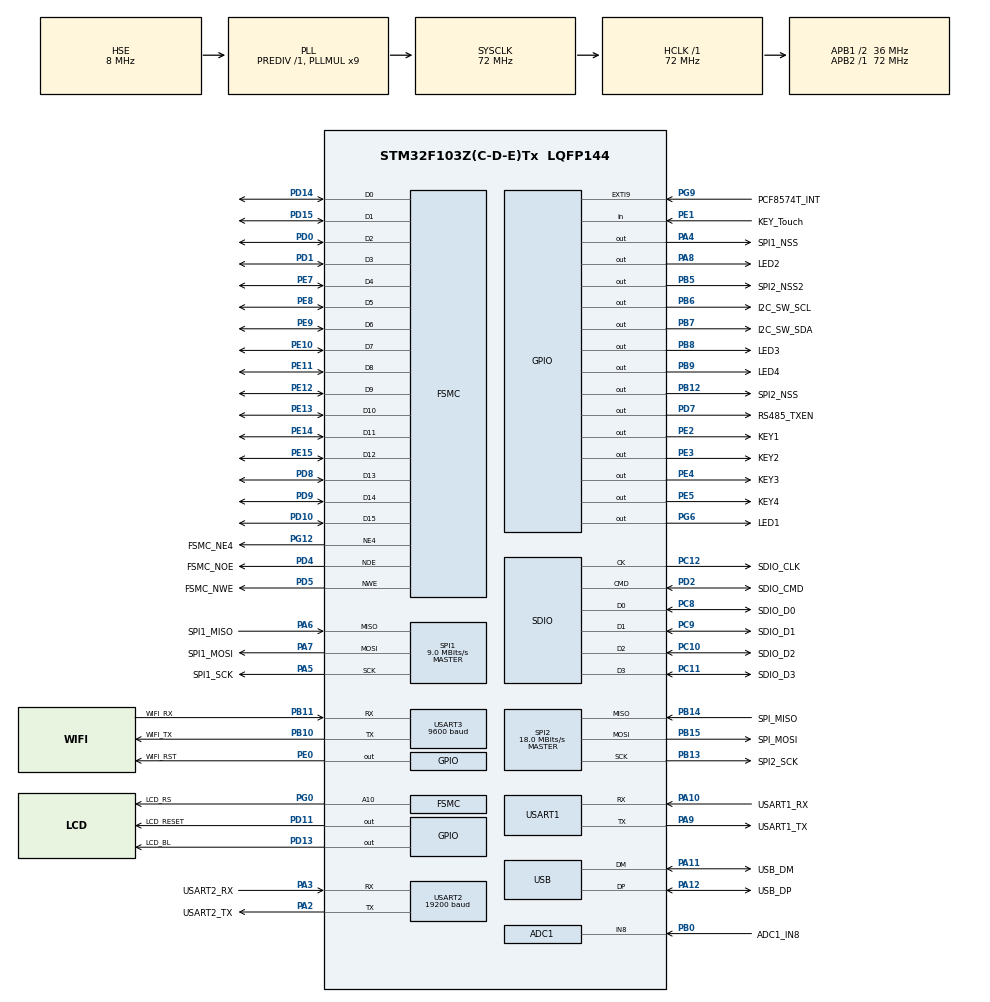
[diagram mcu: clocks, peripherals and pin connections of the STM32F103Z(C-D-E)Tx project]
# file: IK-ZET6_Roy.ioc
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ADC1.Channel-0\#ChannelRegularConversion=ADC_CHANNEL_TEMPSENSOR
ADC1.Channel-1\#ChannelRegularConversion=ADC_CHANNEL_8
ADC1.ContinuousConvMode=DISABLE
ADC1.DiscontinuousConvMode=DISABLE
ADC1.EnableInjectedConversion=DISABLE
ADC1.NbrOfConversion=2
ADC1.NbrOfConversionFlag=1
ADC1.Rank-0\#ChannelRegularConversion=1
ADC1.Rank-1\#ChannelRegularConversion=2
ADC1.SamplingTime-0\#ChannelRegularConversion=ADC_SAMPLETIME_28CYCLES_5
ADC1.SamplingTime-1\#ChannelRegularConversion=ADC_SAMPLETIME_28CYCLES_5
ADC1.master=1
Dma.ADC1.1.Direction=DMA_PERIPH_TO_MEMORY
Dma.ADC1.1.Instance=DMA1_Channel1
Dma.ADC1.1.MemDataAlignment=DMA_MDATAALIGN_WORD
Dma.ADC1.1.MemInc=DMA_MINC_ENABLE
Dma.ADC1.1.Mode=DMA_NORMAL
Dma.ADC1.1.PeriphDataAlignment=DMA_PDATAALIGN_WORD
Dma.ADC1.1.PeriphInc=DMA_PINC_DISABLE
Dma.ADC1.1.Priority=DMA_PRIORITY_LOW
Dma.Request0=USART1_RX
Dma.Request1=ADC1
Dma.Request2=SDIO
Dma.SDIO.2.Direction=DMA_MEMORY_TO_PERIPH
Dma.SDIO.2.Instance=DMA2_Channel4
Dma.SDIO.2.MemDataAlignment=DMA_MDATAALIGN_WORD
Dma.SDIO.2.MemInc=DMA_MINC_ENABLE
Dma.SDIO.2.Mode=DMA_CIRCULAR
Dma.SDIO.2.PeriphDataAlignment=DMA_PDATAALIGN_WORD
Dma.SDIO.2.PeriphInc=DMA_PINC_DISABLE
Dma.SDIO.2.Priority=DMA_PRIORITY_LOW
Dma.USART1_RX.0.Direction=DMA_PERIPH_TO_MEMORY
Dma.USART1_RX.0.Instance=DMA1_Channel5
Dma.USART1_RX.0.MemDataAlignment=DMA_MDATAALIGN_BYTE
Dma.USART1_RX.0.MemInc=DMA_MINC_ENABLE
Dma.USART1_RX.0.Mode=DMA_CIRCULAR
Dma.USART1_RX.0.PeriphDataAlignment=DMA_PDATAALIGN_BYTE
Dma.USART1_RX.0.PeriphInc=DMA_PINC_DISABLE
Dma.USART1_RX.0.Priority=DMA_PRIORITY_HIGH
FSMC.AddressSetupTime4=0
FSMC.BusTurnAroundDuration4=0
FSMC.DataSetupTime4=1
FSMC.ExtendedMode4=FSMC_EXTENDED_MODE_DISABLE
Mcu.Family=STM32F1
Mcu.Name=STM32F103Z(C-D-E)Tx
Mcu.Package=LQFP144
NVIC.ADC1_2_IRQn=true\:5\:0\:true\:false\:true\:true\:true\:true
NVIC.DMA1_Channel1_IRQn=true\:6\:0\:true\:false\:true\:false\:true\:true
NVIC.DMA1_Channel5_IRQn=true\:6\:0\:true\:false\:true\:false\:true\:false
NVIC.DMA2_Channel4_5_IRQn=true\:6\:0\:true\:false\:true\:false\:true\:true
NVIC.EXTI9_5_IRQn=true\:5\:0\:true\:false\:true\:true\:true\:true
NVIC.PriorityGroup=NVIC_PRIORITYGROUP_4
NVIC.SDIO_IRQn=true\:0\:0\:false\:false\:true\:true\:true\:true
NVIC.TIM5_IRQn=true\:4\:0\:true\:false\:true\:true\:true\:true
NVIC.USART1_IRQn=true\:2\:0\:true\:false\:true\:true\:true\:true
NVIC.USART2_IRQn=true\:2\:0\:true\:false\:true\:true\:true\:true
NVIC.USART3_IRQn=true\:2\:0\:true\:false\:true\:true\:true\:true
NVIC.USB_LP_CAN1_RX0_IRQn=true\:3\:0\:true\:false\:true\:true\:true\:true
OSC_IN.Mode=HSE-External-Oscillator
OSC_IN.Signal=RCC_OSC_IN
OSC_OUT.Mode=HSE-External-Oscillator
OSC_OUT.Signal=RCC_OSC_OUT
PA0-WKUP.Mode=SYS_WakeUp0
PA0-WKUP.Signal=SYS_WKUP
PA10.GPIO_Label=USART1_RX
PA10.Mode=Asynchronous
PA10.Signal=USART1_RX
PA11.GPIO_Label=USB_DM
PA11.Mode=Device
PA11.Signal=USB_DM
PA12.GPIO_Label=USB_DP
PA12.Mode=Device
PA12.Signal=USB_DP
PA13.Mode=Serial_Wire
PA13.Signal=SYS_JTMS-SWDIO
PA14.Mode=Serial_Wire
PA14.Signal=SYS_JTCK-SWCLK
PA2.GPIO_Label=USART2_TX
PA2.Mode=Asynchronous
PA2.Signal=USART2_TX
PA3.GPIO_Label=USART2_RX
PA3.Mode=Asynchronous
PA3.Signal=USART2_RX
PA4.GPIO_Label=SPI1_NSS
PA4.Signal=GPIO_Output
PA5.GPIO_Label=SPI1_SCK
PA5.Mode=Full_Duplex_Master
PA5.Signal=SPI1_SCK
PA6.GPIO_Label=SPI1_MISO
PA6.Mode=Full_Duplex_Master
PA6.Signal=SPI1_MISO
PA7.GPIO_Label=SPI1_MOSI
PA7.Mode=Full_Duplex_Master
PA7.Signal=SPI1_MOSI
PA8.GPIO_Label=LED2
PA8.GPIO_ModeDefaultOutputPP=GPIO_MODE_OUTPUT_PP
PA8.GPIO_PuPd=GPIO_NOPULL
PA8.GPIO_Speed=GPIO_SPEED_FREQ_LOW
PA8.PinState=GPIO_PIN_SET
PA8.Signal=GPIO_Output
PA9.GPIO_Label=USART1_TX
PA9.Mode=Asynchronous
PA9.Signal=USART1_TX
PB0.GPIO_Label=ADC1_IN8
PB0.Signal=ADCx_IN8
PB10.GPIO_Label=WIFI_TX
PB10.Mode=Asynchronous
PB10.Signal=USART3_TX
PB11.GPIO_Label=WIFI_RX
PB11.Mode=Asynchronous
PB11.Signal=USART3_RX
PB12.GPIO_Label=SPI2_NSS
PB12.GPIO_ModeDefaultOutputPP=GPIO_MODE_OUTPUT_PP
PB12.GPIO_PuPd=GPIO_PULLUP
PB12.GPIO_Speed=GPIO_SPEED_FREQ_MEDIUM
PB12.PinState=GPIO_PIN_SET
PB12.Signal=GPIO_Output
PB13.GPIO_Label=SPI2_SCK
PB13.Mode=Full_Duplex_Master
PB13.Signal=SPI2_SCK
PB14.GPIO_Label=SPI_MISO
PB14.Mode=Full_Duplex_Master
PB14.Signal=SPI2_MISO
PB15.GPIO_Label=SPI_MOSI
PB15.Mode=Full_Duplex_Master
PB15.Signal=SPI2_MOSI
PB5.GPIO_Label=SPI2_NSS2
PB5.GPIO_PuPd=GPIO_PULLUP
PB5.GPIO_Speed=GPIO_SPEED_FREQ_MEDIUM
PB5.PinState=GPIO_PIN_SET
PB5.Signal=GPIO_Output
PB6.GPIO_Label=I2C_SW_SCL
PB6.GPIO_ModeDefaultOutputPP=GPIO_MODE_OUTPUT_OD
PB6.GPIO_PuPd=GPIO_NOPULL
PB6.GPIO_Speed=GPIO_SPEED_FREQ_MEDIUM
PB6.PinState=GPIO_PIN_SET
PB6.Signal=GPIO_Output
PB7.GPIO_Label=I2C_SW_SDA
PB7.GPIO_ModeDefaultOutputPP=GPIO_MODE_OUTPUT_OD
PB7.GPIO_PuPd=GPIO_NOPULL
PB7.GPIO_Speed=GPIO_SPEED_FREQ_MEDIUM
PB7.PinState=GPIO_PIN_SET
PB7.Signal=GPIO_Output
PB8.GPIO_Label=LED3
PB8.GPIO_Speed=GPIO_SPEED_FREQ_LOW
PB8.PinState=GPIO_PIN_SET
PB8.Signal=GPIO_Output
PB9.GPIO_Label=LED4
PB9.GPIO_Speed=GPIO_SPEED_FREQ_LOW
PB9.PinState=GPIO_PIN_SET
PB9.Signal=GPIO_Output
PC10.GPIO_Label=SDIO_D2
PC10.Mode=SD_4_bits_Wide_bus
PC10.Signal=SDIO_D2
PC11.GPIO_Label=SDIO_D3
PC11.Mode=SD_4_bits_Wide_bus
PC11.Signal=SDIO_D3
PC12.GPIO_Label=SDIO_CLK
PC12.Mode=SD_4_bits_Wide_bus
PC12.Signal=SDIO_CK
PC14-OSC32_IN.Mode=LSE-External-Oscillator
PC14-OSC32_IN.Signal=RCC_OSC32_IN
PC15-OSC32_OUT.Mode=LSE-External-Oscillator
PC15-OSC32_OUT.Signal=RCC_OSC32_OUT
PC8.GPIO_Label=SDIO_D0
PC8.Mode=SD_4_bits_Wide_bus
PC8.Signal=SDIO_D0
PC9.GPIO_Label=SDIO_D1
PC9.Mode=SD_4_bits_Wide_bus
PC9.Signal=SDIO_D1
PD0.Signal=FSMC_D2_DA2
PD1.Signal=FSMC_D3_DA3
PD10.Signal=FSMC_D15_DA15
PD11.GPIO_Label=LCD_RESET
PD11.GPIO_PuPd=GPIO_PULLUP
PD11.GPIO_Speed=GPIO_SPEED_FREQ_MEDIUM
PD11.PinState=GPIO_PIN_SET
PD11.Signal=GPIO_Output
PD13.GPIO_Label=LCD_BL
PD13.GPIO_ModeDefaultOutputPP=GPIO_MODE_OUTPUT_PP
PD13.GPIO_PuPd=GPIO_PULLUP
PD13.PinState=GPIO_PIN_SET
PD13.Signal=GPIO_Output
PD14.Signal=FSMC_D0_DA0
PD15.Signal=FSMC_D1_DA1
PD2.GPIO_Label=SDIO_CMD
PD2.Mode=SD_4_bits_Wide_bus
PD2.Signal=SDIO_CMD
PD4.GPIO_Label=FSMC_NOE
PD4.Signal=FSMC_NOE
PD5.GPIO_Label=FSMC_NWE
PD5.Signal=FSMC_NWE
PD7.GPIO_Label=RS485_TXEN
PD7.GPIO_PuPd=GPIO_PULLUP
PD7.Signal=GPIO_Output
PD8.Signal=FSMC_D13_DA13
PD9.Signal=FSMC_D14_DA14
PE0.GPIO_Label=WIFI_RST
PE0.GPIO_ModeDefaultOutputPP=GPIO_MODE_OUTPUT_PP
PE0.GPIO_PuPd=GPIO_PULLUP
PE0.PinState=GPIO_PIN_SET
PE0.Signal=GPIO_Output
PE1.GPIO_Label=KEY_Touch
PE1.Signal=GPIO_Input
PE10.Signal=FSMC_D7_DA7
PE11.Signal=FSMC_D8_DA8
PE12.Signal=FSMC_D9_DA9
PE13.Signal=FSMC_D10_DA10
PE14.Signal=FSMC_D11_DA11
PE15.Signal=FSMC_D12_DA12
PE2.GPIO_Label=KEY1
PE2.GPIO_ModeDefaultOutputPP=GPIO_MODE_OUTPUT_PP
PE2.GPIO_PuPd=GPIO_PULLUP
PE2.GPIO_Speed=GPIO_SPEED_FREQ_LOW
PE2.PinState=GPIO_PIN_SET
PE2.Signal=GPIO_Output
PE3.GPIO_Label=KEY2
PE3.GPIO_ModeDefaultOutputPP=GPIO_MODE_OUTPUT_PP
PE3.GPIO_PuPd=GPIO_PULLUP
PE3.GPIO_Speed=GPIO_SPEED_FREQ_LOW
PE3.PinState=GPIO_PIN_SET
PE3.Signal=GPIO_Output
PE4.GPIO_Label=KEY3
PE4.GPIO_ModeDefaultOutputPP=GPIO_MODE_OUTPUT_PP
PE4.GPIO_PuPd=GPIO_PULLUP
PE4.GPIO_Speed=GPIO_SPEED_FREQ_LOW
PE4.PinState=GPIO_PIN_SET
PE4.Signal=GPIO_Output
PE5.GPIO_Label=KEY4
PE5.GPIO_ModeDefaultOutputPP=GPIO_MODE_OUTPUT_PP
PE5.GPIO_PuPd=GPIO_PULLUP
PE5.GPIO_Speed=GPIO_SPEED_FREQ_LOW
PE5.PinState=GPIO_PIN_SET
PE5.Signal=GPIO_Output
PE7.Signal=FSMC_D4_DA4
PE8.Signal=FSMC_D5_DA5
PE9.Signal=FSMC_D6_DA6
PG0.GPIO_Label=LCD_RS
PG0.Signal=FSMC_A10
PG12.GPIO_Label=FSMC_NE4
PG12.Mode=NorPsramChipSelect4_4
PG12.Signal=FSMC_NE4
PG6.GPIO_Label=LED1
PG6.GPIO_ModeDefaultOutputPP=GPIO_MODE_OUTPUT_PP
PG6.GPIO_PuPd=GPIO_NOPULL
PG6.GPIO_Speed=GPIO_SPEED_FREQ_LOW
PG6.PinState=GPIO_PIN_SET
PG6.Signal=GPIO_Output
PG9.GPIO_Label=PCF8574T_INT
PG9.GPIO_ModeDefaultEXTI=GPIO_MODE_IT_FALLING
PG9.GPIO_PuPd=GPIO_PULLUP
PG9.Signal=GPXTI9
ProjectManager.HeapSize=0x200
ProjectManager.StackSize=0x800
ProjectManager.TargetToolchain=MDK-ARM V5.32
RCC.ADCPresc=RCC_ADCPCLK2_DIV6
RCC.AHBFreq_Value=72000000
RCC.APB1CLKDivider=RCC_HCLK_DIV2
RCC.APB1Freq_Value=36000000
RCC.APB1TimFreq_Value=72000000
RCC.APB2Freq_Value=72000000
RCC.APB2TimFreq_Value=72000000
RCC.HCLKFreq_Value=72000000
RCC.PLLMUL=RCC_PLL_MUL9
RCC.PLLSourceVirtual=RCC_PLLSOURCE_HSE
RCC.RTCClockSelection=RCC_RTCCLKSOURCE_LSE
RCC.SYSCLKFreq_VALUE=72000000
RCC.SYSCLKSource=RCC_SYSCLKSOURCE_PLLCLK
RCC.USBFreq_Value=48000000
RCC.USBPrescaler=RCC_USBCLKSOURCE_PLL_DIV1_5
RTC.AutoPrediv=RTC_AUTO_1_SECOND
RTC.Date=9
RTC.Format=RTC_FORMAT_BIN
RTC.Hours=20
RTC.Minutes=16
RTC.Month=RTC_MONTH_SEPTEMBER
RTC.WeekDay=RTC_WEEKDAY_SATURDAY
RTC.Year=22
SDIO.ClockDiv=1
SH.ADCx_IN8.0=ADC1_IN8,IN8
SH.FSMC_A10.0=FSMC_A10,A10_4
SH.FSMC_D0_DA0.0=FSMC_DA0
SH.FSMC_D0_DA0.1=FSMC_D0,16b-d4
SH.FSMC_D10_DA10.0=FSMC_DA10
SH.FSMC_D10_DA10.1=FSMC_D10,16b-d4
SH.FSMC_D11_DA11.0=FSMC_DA11
SH.FSMC_D11_DA11.1=FSMC_D11,16b-d4
SH.FSMC_D12_DA12.0=FSMC_DA12
SH.FSMC_D12_DA12.1=FSMC_D12,16b-d4
SH.FSMC_D13_DA13.0=FSMC_DA13
SH.FSMC_D13_DA13.1=FSMC_D13,16b-d4
SH.FSMC_D14_DA14.0=FSMC_DA14
SH.FSMC_D14_DA14.1=FSMC_D14,16b-d4
SH.FSMC_D15_DA15.0=FSMC_DA15
SH.FSMC_D15_DA15.1=FSMC_D15,16b-d4
SH.FSMC_D1_DA1.0=FSMC_DA1
SH.FSMC_D1_DA1.1=FSMC_D1,16b-d4
SH.FSMC_D2_DA2.0=FSMC_DA2
SH.FSMC_D2_DA2.1=FSMC_D2,16b-d4
SH.FSMC_D3_DA3.0=FSMC_DA3
SH.FSMC_D3_DA3.1=FSMC_D3,16b-d4
SH.FSMC_D4_DA4.0=FSMC_DA4
SH.FSMC_D4_DA4.1=FSMC_D4,16b-d4
SH.FSMC_D5_DA5.0=FSMC_DA5
SH.FSMC_D5_DA5.1=FSMC_D5,16b-d4
SH.FSMC_D6_DA6.0=FSMC_DA6
SH.FSMC_D6_DA6.1=FSMC_D6,16b-d4
SH.FSMC_D7_DA7.0=FSMC_DA7
SH.FSMC_D7_DA7.1=FSMC_D7,16b-d4
SH.FSMC_D8_DA8.0=FSMC_DA8
SH.FSMC_D8_DA8.1=FSMC_D8,16b-d4
SH.FSMC_D9_DA9.0=FSMC_DA9
SH.FSMC_D9_DA9.1=FSMC_D9,16b-d4
SH.FSMC_NOE.0=FSMC_NOE,Lcd4
SH.FSMC_NWE.0=FSMC_NWE,Lcd4
SPI1.BaudRatePrescaler=SPI_BAUDRATEPRESCALER_8
SPI1.CLKPhase=SPI_PHASE_2EDGE
SPI1.CLKPolarity=SPI_POLARITY_HIGH
SPI1.CalculateBaudRate=9.0 MBits/s
SPI1.Direction=SPI_DIRECTION_2LINES
SPI1.Mode=SPI_MODE_MASTER
SPI1.VirtualType=VM_MASTER
SPI2.BaudRatePrescaler=SPI_BAUDRATEPRESCALER_2
SPI2.CLKPhase=SPI_PHASE_2EDGE
SPI2.CLKPolarity=SPI_POLARITY_HIGH
SPI2.CalculateBaudRate=18.0 MBits/s
SPI2.DataSize=SPI_DATASIZE_8BIT
SPI2.Direction=SPI_DIRECTION_2LINES
SPI2.Mode=SPI_MODE_MASTER
SPI2.VirtualType=VM_MASTER
TIM5.Channel-Output\ Compare1\ No\ Output=TIM_CHANNEL_1
TIM5.Channel-Output\ Compare2\ No\ Output=TIM_CHANNEL_2
TIM5.Channel-Output\ Compare3\ No\ Output=TIM_CHANNEL_3
TIM5.Channel-Output\ Compare4\ No\ Output=TIM_CHANNEL_4
USART1.VirtualMode=VM_ASYNC
USART2.BaudRate=19200
USART2.VirtualMode=VM_ASYNC
USART3.BaudRate=9600
USART3.VirtualMode=VM_ASYNC
USB_DEVICE.CLASS_NAME_FS=CDC
USB_DEVICE.USBD_DEBUG_LEVEL=3
USB_DEVICE.VirtualMode=Cdc
USB_DEVICE.VirtualModeFS=Cdc_FS
VP_ADC1_TempSens_Input.Mode=IN-TempSens
VP_RTC_No_RTC_Output.Mode=RTC_OUT_NO
VP_RTC_VS_RTC_Activate.Mode=RTC_Enabled
VP_RTC_VS_RTC_Calendar.Mode=RTC_Calendar
VP_TIM5_VS_ClockSourceINT.Mode=Internal
VP_TIM5_VS_no_output1.Mode=Output Compare1 No Output
VP_TIM5_VS_no_output2.Mode=Output Compare2 No Output
VP_TIM5_VS_no_output3.Mode=Output Compare3 No Output
VP_TIM5_VS_no_output4.Mode=Output Compare4 No Output
VP_USB_DEVICE_VS_USB_DEVICE_CDC_FS.Mode=CDC_FS
board=custom

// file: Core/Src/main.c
/* USER CODE BEGIN Header */
/**
 ******************************************************************************
 * @file           : main.c
 * @brief          : Main program body
 ******************************************************************************
 * @attention
 *
 * Copyright (c) 2022 STMicroelectronics.
 * All rights reserved.
 *
 * This software is licensed under terms that can be found in the LICENSE file
 * in the root directory of this software component.
 * If no LICENSE file comes with this software, it is provided AS-IS.
 *
 ******************************************************************************
 */
/* USER CODE END Header */
#include "main.h"
#include "adc.h"
#include "dma.h"
#include "rtc.h"
#include "sdio.h"
#include "spi.h"
#include "tim.h"
#include "usart.h"
#include "usb_device.h"
#include "gpio.h"
#include "fsmc.h"

/* USER CODE BEGIN Includes */
#include "bsp.h"

/* USER CODE END Includes */

/* USER CODE BEGIN PV */
MSG_T msg;
uint8_t CAN_TX[3] = {0x33, 0x32, 0x31};
uCAN_MSG txMessage;
uCAN_MSG rxMessage;

/* USER CODE END PV */

void SystemClock_Config(void);
/* USER CODE BEGIN PFP */
static void TIM_CallBack1(void);
/* USER CODE END PFP */

/* USER CODE BEGIN 0 */
extern AHT_DrvTypeDef *AHTDrv;
extern IOExpand_DrvTypeDef *IODrv;
/* USER CODE END 0 */

int main(void)
{
  /* USER CODE BEGIN 1 */
  SCB->VTOR = FLASH_BASE | 0x8000;
  /* USER CODE END 1 */

  /* MCU Configuration--------------------------------------------------------*/

  /* Reset of all peripherals, Initializes the Flash interface and the Systick. */
  HAL_Init();

  /* Configure the system clock */
  SystemClock_Config();

  /* Initialize all configured peripherals */
  MX_GPIO_Init();
  MX_DMA_Init();
  MX_SPI2_Init();
  MX_USART1_UART_Init();
  MX_RTC_Init();
  MX_FSMC_Init();
  MX_USART2_UART_Init();
  MX_TIM5_Init();
  MX_USART3_UART_Init();
  MX_ADC1_Init();
  MX_SDIO_SD_Init();
  MX_SPI1_Init();
  MX_USB_DEVICE_Init();
  /* USER CODE BEGIN 2 */
  bsp_Init();

  bsp_LCD_SetTextColor(WHITE);
  bsp_LCD_DispStringLine_EN(LINE(2), "IK-ZET6 2.8 inch LCD para:");
  bsp_LCD_SetFont(&Font16x24);
  bsp_LCD_DispStringLine_EN(LINE(3), "Image resolution:240x320 px");
  bsp_LCD_SetFont(&Font24x32);
  bsp_LCD_DispStringLine_EN(LINE(4), "ILI9341 LCD driver...");
  bsp_LCD_SetFont(&Font8x16);
  /* USER CODE END 2 */

  /* Infinite loop */
  /* USER CODE BEGIN WHILE */
  while (1)
  {
    // bsp_LCD_Test3();
    if (bsp_GetMsg(&msg))
    {
      switch (msg.MsgCode)
      {
      case MSG_LED2_Sparkle:
        /* LED2_ON */
        if (msg.MsgParam == 1)
        {
          HAL_GPIO_WritePin(LED2_GPIO_Port, LED2_Pin, GPIO_PIN_SET);
        }
        /* LED2_OFF */
        if (msg.MsgParam == 0)
        {
          HAL_GPIO_WritePin(LED2_GPIO_Port, LED2_Pin, GPIO_PIN_RESET);
        }
        break;

      case MSG_Show_TEMPHUM: /* Show_TEMPHUM */
        AHTDrv->ReadTEMPHUM(&AHT10_Humidity, &AHT10_Temperature);
        bsp_ATH_Show();
        HAL_GPIO_TogglePin(LED1_GPIO_Port, LED1_Pin);
        bsp_HardTimer_Start(1, 100, (void *)TIM_CallBack1);
        break;

      case MSG_Show_TimeAndDate:
        bsp_RTC_TimeAndDate_Show();
        break;

      case MSG_CANTX:
        // bsp_CAN_SendPacket(CAN_TX, 3);
        break;

      case MSG_CANRX:
        // bsp_CAN_Analyze();
        break;

      case MSG_WIFIRX:
        bsp_Log_Info("Response:%d", bsp_wifi_WaitResponse("OK", 100));
        break;

      case MSG_SPICANTEST:
        txMessage.frame.idType = dSTANDARD_CAN_MSG_ID_2_0B;
        txMessage.frame.id = 0x100;
        txMessage.frame.dlc = 8;
        txMessage.frame.data0 = 0;
        txMessage.frame.data1 = 1;
        txMessage.frame.data2 = 2;
        txMessage.frame.data3 = 3;
        txMessage.frame.data4 = 4;
        txMessage.frame.data5 = 5;
        txMessage.frame.data6 = 6;
        txMessage.frame.data7 = 32;
        CANSPI_Transmit(&txMessage);
        break;

      default:
        break;
      }
    }

    /* LetterShell Tick */
    if (LetterShell_Recv_flag == 1)
    {
      LetterShell_Recv_flag = 0;
      shellHandler(&shell, LetterShell_Recv);
      HAL_UART_Receive_DMA(&huart1, &LetterShell_Recv, 1);
    }

    if (CANSPI_Receive(&rxMessage) == 1)
    {
      bsp_Log_Info("CANSPI_Receive ok");
      char canmsg[128] = {0};
      char cantemp[32] = {0};
      char len = 0;
      sprintf(cantemp, "CAN StdId : 0x%3x | ", rxMessage.frame.id);
      strcat(canmsg, cantemp);
      sprintf(cantemp, "DLC : %02d | Msg : ", rxMessage.frame.dlc);
      strcat(canmsg, cantemp);
      {
        if (len < rxMessage.frame.dlc)
        {
          sprintf(cantemp, "0x%02x ", rxMessage.frame.data0);
          strcat(canmsg, cantemp);
          len++;
        }

        if (len < rxMessage.frame.dlc)
        {
          sprintf(cantemp, "0x%02x ", rxMessage.frame.data1);
          strcat(canmsg, cantemp);
          len++;
        }

        if (len < rxMessage.frame.dlc)
        {
          sprintf(cantemp, "0x%02x ", rxMessage.frame.data2);
          strcat(canmsg, cantemp);
          len++;
        }

        if (len < rxMessage.frame.dlc)
        {
          sprintf(cantemp, "0x%02x ", rxMessage.frame.data3);
          strcat(canmsg, cantemp);
          len++;
        }

        if (len < rxMessage.frame.dlc)
        {
          sprintf(cantemp, "0x%02x ", rxMessage.frame.data4);
          strcat(canmsg, cantemp);
          len++;
        }

        if (len < rxMessage.frame.dlc)
        {
          sprintf(cantemp, "0x%02x ", rxMessage.frame.data5);
          strcat(canmsg, cantemp);
          len++;
        }

        if (len < rxMessage.frame.dlc)
        {
          sprintf(cantemp, "0x%02x ", rxMessage.frame.data6);
          strcat(canmsg, cantemp);
          len++;
        }

        if (len < rxMessage.frame.dlc)
        {
          sprintf(cantemp, "0x%02x ", rxMessage.frame.data7);
          strcat(canmsg, cantemp);
          len++;
        }
      }
      bsp_Log_Info("%s", canmsg);
    }
    bsp_Idle();
    /* USER CODE END WHILE */

  }
}

void SystemClock_Config(void)
{
  RCC_OscInitTypeDef RCC_OscInitStruct = {0};
  RCC_ClkInitTypeDef RCC_ClkInitStruct = {0};
  RCC_PeriphCLKInitTypeDef PeriphClkInit = {0};

  /** Initializes the RCC Oscillators according to the specified parameters
  * in the RCC_OscInitTypeDef structure.
  */
  RCC_OscInitStruct.OscillatorType = RCC_OSCILLATORTYPE_HSE|RCC_OSCILLATORTYPE_LSE;
  RCC_OscInitStruct.HSEState = RCC_HSE_ON;
  RCC_OscInitStruct.HSEPredivValue = RCC_HSE_PREDIV_DIV1;
  RCC_OscInitStruct.LSEState = RCC_LSE_ON;
  RCC_OscInitStruct.HSIState = RCC_HSI_ON;
  RCC_OscInitStruct.PLL.PLLState = RCC_PLL_ON;
  RCC_OscInitStruct.PLL.PLLSource = RCC_PLLSOURCE_HSE;
  RCC_OscInitStruct.PLL.PLLMUL = RCC_PLL_MUL9;
  if (HAL_RCC_OscConfig(&RCC_OscInitStruct) != HAL_OK)
  {
    Error_Handler();
  }

  /** Initializes the CPU, AHB and APB buses clocks
  */
  RCC_ClkInitStruct.ClockType = RCC_CLOCKTYPE_HCLK|RCC_CLOCKTYPE_SYSCLK
                              |RCC_CLOCKTYPE_PCLK1|RCC_CLOCKTYPE_PCLK2;
  RCC_ClkInitStruct.SYSCLKSource = RCC_SYSCLKSOURCE_PLLCLK;
  RCC_ClkInitStruct.AHBCLKDivider = RCC_SYSCLK_DIV1;
  RCC_ClkInitStruct.APB1CLKDivider = RCC_HCLK_DIV2;
  RCC_ClkInitStruct.APB2CLKDivider = RCC_HCLK_DIV1;

  if (HAL_RCC_ClockConfig(&RCC_ClkInitStruct, FLASH_LATENCY_2) != HAL_OK)
  {
    Error_Handler();
  }
  PeriphClkInit.PeriphClockSelection = RCC_PERIPHCLK_RTC|RCC_PERIPHCLK_ADC
                              |RCC_PERIPHCLK_USB;
  PeriphClkInit.RTCClockSelection = RCC_RTCCLKSOURCE_LSE;
  PeriphClkInit.AdcClockSelection = RCC_ADCPCLK2_DIV6;
  PeriphClkInit.UsbClockSelection = RCC_USBCLKSOURCE_PLL_DIV1_5;
  if (HAL_RCCEx_PeriphCLKConfig(&PeriphClkInit) != HAL_OK)
  {
    Error_Handler();
  }
}

/* USER CODE BEGIN 4 */
static void TIM_CallBack1(void)
{
  HAL_GPIO_TogglePin(LED1_GPIO_Port, LED1_Pin);
}
/* USER CODE END 4 */

void Error_Handler(void)
{
  __disable_irq();
  while (1)
  {
  }
}
